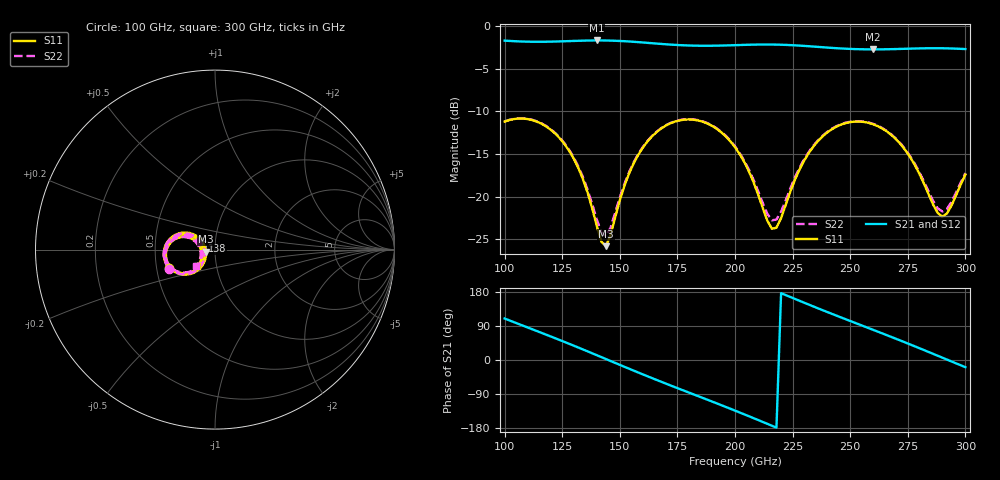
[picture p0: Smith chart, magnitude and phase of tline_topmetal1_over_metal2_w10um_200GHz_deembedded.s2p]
! Created with skrf 2.2.0 (http://scikit-rf.org).
# GHz S DB R 50.0
! Port[1] = P1
! Port[2] = P2
!freq dBS11 angS11 dBS21 angS21 dBS12 angS12 dBS22 angS22
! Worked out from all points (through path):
!   101 points, 100 GHz to 300 GHz, reference 50 ohm
!   highest |S21| = -1.69 dB at 140 GHz (marker M1); lowest = -2.7 dB at 260 GHz (marker M2)
!   group delay of S21, straight-line fit = 6.79 ps
!   lowest |S11| = -25.8 dB at 144 GHz (marker M3), VSWR 1.11, Z = 45.2 - j1.06 ohm
!   |S11| at or under -10 dB: start of sweep to end of sweep
!   |S22| runs from -24.6 to -10.8 dB; largest |S21 - S12| = 9.4e-14
!   S11 on the Smith chart (normalised r, x): 100 GHz: 0.58, -0.13; 138 GHz: 0.86, +0.08; 300 GHz: 0.81, -0.15
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100  -11.20 -157.7  -1.71 109.5  -1.71 109.5  -11.17 -157.1
116  -11.44 170.3  -1.84 71.7  -1.84 71.7  -11.40 171.5
126  -13.83 152.2  -1.78 47.7  -1.78 47.7  -13.73 154.1
134  -17.94 143.4  -1.71 27.9  -1.71 27.9  -17.70 146.4
138  -21.34 146.9  -1.69 17.8  -1.69 17.8  -20.84 150.7
140  -23.41 154.8  -1.69 12.7  -1.69 12.7  -22.65 158.6
144  -25.79 -166.9  -1.69 2.5  -1.69 2.5  -24.62 -167.9
156  -16.09 -130.2  -1.84 -28.0  -1.84 -28.0  -15.98 -132.2
168  -12.00 -149.1  -2.10 -57.5  -2.10 -57.5  -11.95 -149.8
184  -11.06 -179.0  -2.30 -95.4  -2.30 -95.4  -11.02 -178.8
200  -14.19 154.3  -2.24 -133.5  -2.24 -133.5  -14.09 155.7
208  -18.27 149.4  -2.18 -153.3  -2.18 -153.3  -17.98 152.0
216  -23.75 -178.7  -2.17 -173.5  -2.17 -173.5  -22.76 -178.0
218  -23.63 -161.8  -2.17 -178.5  -2.17 -178.5  -22.66 -163.4
224  -19.42 -134.9  -2.23 166.3  -2.23 166.3  -19.03 -138.3
234  -14.12 -138.7  -2.40 141.3  -2.40 141.3  -14.02 -140.8
246  -11.55 -157.8  -2.62 112.4  -2.62 112.4  -11.50 -159.0
260  -11.51 177.9  -2.73 79.5  -2.73 79.5  -11.46 177.4
268  -12.79 165.2  -2.70 60.5  -2.70 60.5  -12.73 165.1
280  -17.30 155.1  -2.62 31.2  -2.62 31.2  -17.10 155.9
290  -22.32 -171.1  -2.60 6.2  -2.60 6.2  -21.73 -172.1
300  -17.40 -136.5  -2.70 -19.0  -2.70 -19.0  -17.22 -139.1
